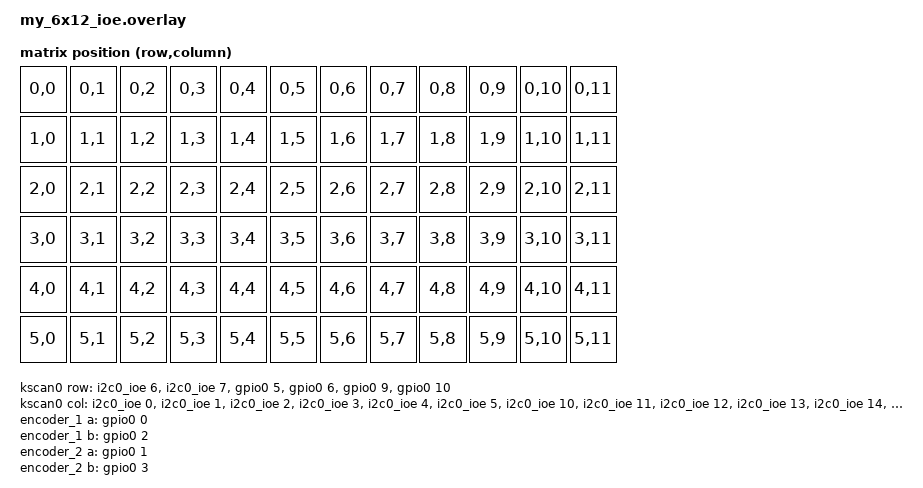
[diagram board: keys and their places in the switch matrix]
// my_6x12_ioe.overlay

#include <dt-bindings/zmk/matrix.h>
#include <dt-bindings/zmk/matrix_transform.h>
#include <dt-bindings/gpio/gpio.h> // GPIO_ACTIVE_HIGH, GPIO_PULL_UP など

/ {
    chosen {
        zmk,kscan = &kscan0;
        zmk,matrix-transform = &default_transform;
    };

    // IOエキスパンダのI2Cアドレス (通常は0x20-0x27)
    // 実際のアドレスに合わせて変更してください
    i2c0_ioe: mcp23018@20 {
        compatible = "microchip,mcp23018";
        reg = <0x20>; // I2Cアドレス
        gpio-controller;
        #gpio-cells = <2>; // pin, flags

        // IOエキスパンダのピンをZMKのキーマトリックスに割り当てる
        // GPB0-7, GPA0-7 が利用可能
        // マトリックスの行数、列数に合わせて調整してください
        // この例では、IOエキスパンダで全ての行または列を制御すると仮定しています。
        // 実際にはマイコンのピンとIOエキスパンダのピンを組み合わせて使うことが多いです。
        status = "okay";
    };

    kscan0: kscan {
        // I2C経由でIOエキスパンダに接続されたマトリックススキャン
        // 6行12列のマトリックスを想定
        compatible = "zmk,kscan-gpio-matrix";
        // マイコンのI2Cバスに接続
        // 使用するマイコンのI2Cピンに合わせて変更してください
        // 例: &pro_micro_i2c (Pro Micro), &i2c0 (Nice!Nanoなど)
        // ここでは、Nice!NanoなどのI2C0バスにIOエキスパンダが接続されていると仮定
        // また、MCP23018のGPIOピンを直接指定します。

        // 以下は MCP23018 の GPB0-5 を行、GPA0-7 と GPIOB6-7 を列として使う場合の例
        // 実際にはキーボードの配線に合わせて変更してください。
        // IOエキスパンダのピンは `&<io_expander_node_name> <pin_number> <flags>` で指定
        // pin_number: 0-7 (GPA0-7), 8-15 (GPB0-7)
        // flags: GPIO_ACTIVE_HIGH | GPIO_PULL_UP など
        
        // 行ピン (6行)
        row-gpios = <
            &i2c0_ioe 6  (GPIO_ACTIVE_HIGH | GPIO_PULL_UP) // 1
            &i2c0_ioe 7  (GPIO_ACTIVE_HIGH | GPIO_PULL_UP) //  6
            &gpio0 5 (GPIO_ACTIVE_HIGH | GPIO_PULL_DOWN)    //5        
            &gpio0 6 (GPIO_ACTIVE_HIGH | GPIO_PULL_DOWN)//2
            &gpio0 9 (GPIO_ACTIVE_HIGH | GPIO_PULL_DOWN)//4
            &gpio0 10 (GPIO_ACTIVE_HIGH | GPIO_PULL_DOWN)//3
        >;

        // 列ピン (12列)
        col-gpios = <
            &i2c0_ioe 0 (GPIO_ACTIVE_HIGH | GPIO_PULL_DOWN) // 7
            &i2c0_ioe 1 (GPIO_ACTIVE_HIGH | GPIO_PULL_DOWN) // 8
            &i2c0_ioe 2 (GPIO_ACTIVE_HIGH | GPIO_PULL_DOWN) // 9
            &i2c0_ioe 3 (GPIO_ACTIVE_HIGH | GPIO_PULL_DOWN) // 10
            &i2c0_ioe 4 (GPIO_ACTIVE_HIGH | GPIO_PULL_DOWN) // 11
            &i2c0_ioe 5 (GPIO_ACTIVE_HIGH | GPIO_PULL_DOWN) // 12
            &i2c0_ioe 10 (GPIO_ACTIVE_HIGH | GPIO_PULL_DOWN) // 1
            &i2c0_ioe 11 (GPIO_ACTIVE_HIGH | GPIO_PULL_DOWN) // 2
            &i2c0_ioe 12 (GPIO_ACTIVE_HIGH | GPIO_PULL_DOWN) // 3
            &i2c0_ioe 13 (GPIO_ACTIVE_HIGH | GPIO_PULL_DOWN) // 4
            &i2c0_ioe 14 (GPIO_ACTIVE_HIGH | GPIO_PULL_DOWN) // 5
            &i2c0_ioe 15 (GPIO_ACTIVE_HIGH | GPIO_PULL_DOWN) // 6
            // 使用するボードのGPIOピンに合わせて &gpio0 3, &gpio0 4 のように記述
            
        >;
    };

        encoders {
            compatible = "zmk,encoders";
            #address-cells = <1>;
            #size-cells = <0>;
    
            // エンコーダー 1 の定義
            encoder_1: encoder@0 {
                status = "okay";
                label = "Encoder 1";
                
                a-gpios = <&gpio0 0 (GPIO_ACTIVE_HIGH | GPIO_PULL_UP)>;
                b-gpios = <&gpio0 2 (GPIO_ACTIVE_HIGH | GPIO_PULL_UP)>;
    
                steps-per-rotation = <24>; // エンコーダーの1回転あたりのクリック数 (使用するエンコーダーによる)
                // resolution = <4>; // オプション: エンコーダーの分解能。一般的には steps-per-rotation を使う。
    
                // エンコーダーを回したときに実行するアクションを定義します。
                // ここで定義した action は、キーマップファイルで参照されます。
                // ここでは Volume Up/Down を例にしています。
                actions = <
                    &encoder_default_ccw    // 反時計回りのアクション
                    &encoder_default_cw     // 時計回りのアクション
                >;
            };
    
            // エンコーダー 2
            encoder_2: encoder@1 {
                status = "okay";
                label = "Encoder 2";
                // 別のピンを指定。例: P0.03 と P0.04
                a-gpios = <&gpio0 1 (GPIO_ACTIVE_HIGH | GPIO_PULL_UP)>;
                b-gpios = <&gpio0 3 (GPIO_ACTIVE_HIGH | GPIO_PULL_UP)>;
    
                steps-per-rotation = <24>;
                actions = <
                    &encoder_default_ccw
                    &encoder_default_cw
                >;
            };
        };    

    default_transform: matrix_transform {
        compatible = "zmk,matrix-transform";
        rows = <6>;
        columns = <12>; // 6行12列

        // 各キーの物理的な位置をキーマトリックスの(行, 列)にマッピングします。
        // RC(row, col) の形式で指定します。
        // キーマップファイルのキーの並び順と一致させる必要があります。
        // 12キー x 6行 = 72キー分のRC()エントリが必要です。
        map = <
            // Row 0
            RC(0,0) RC(0,1) RC(0,2) RC(0,3) RC(0,4) RC(0,5) RC(0,6) RC(0,7) RC(0,8) RC(0,9) RC(0,10) RC(0,11)
            // Row 1
            RC(1,0) RC(1,1) RC(1,2) RC(1,3) RC(1,4) RC(1,5) RC(1,6) RC(1,7) RC(1,8) RC(1,9) RC(1,10) RC(1,11)
            // Row 2
            RC(2,0) RC(2,1) RC(2,2) RC(2,3) RC(2,4) RC(2,5) RC(2,6) RC(2,7) RC(2,8) RC(2,9) RC(2,10) RC(2,11)
            // Row 3
            RC(3,0) RC(3,1) RC(3,2) RC(3,3) RC(3,4) RC(3,5) RC(3,6) RC(3,7) RC(3,8) RC(3,9) RC(3,10) RC(3,11)
            // Row 4
            RC(4,0) RC(4,1) RC(4,2) RC(4,3) RC(4,4) RC(4,5) RC(4,6) RC(4,7) RC(4,8) RC(4,9) RC(4,10) RC(4,11)
            // Row 5
            RC(5,0) RC(5,1) RC(5,2) RC(5,3) RC(5,4) RC(5,5) RC(5,6) RC(5,7) RC(5,8) RC(5,9) RC(5,10) RC(5,11)
        >;
    };
};


